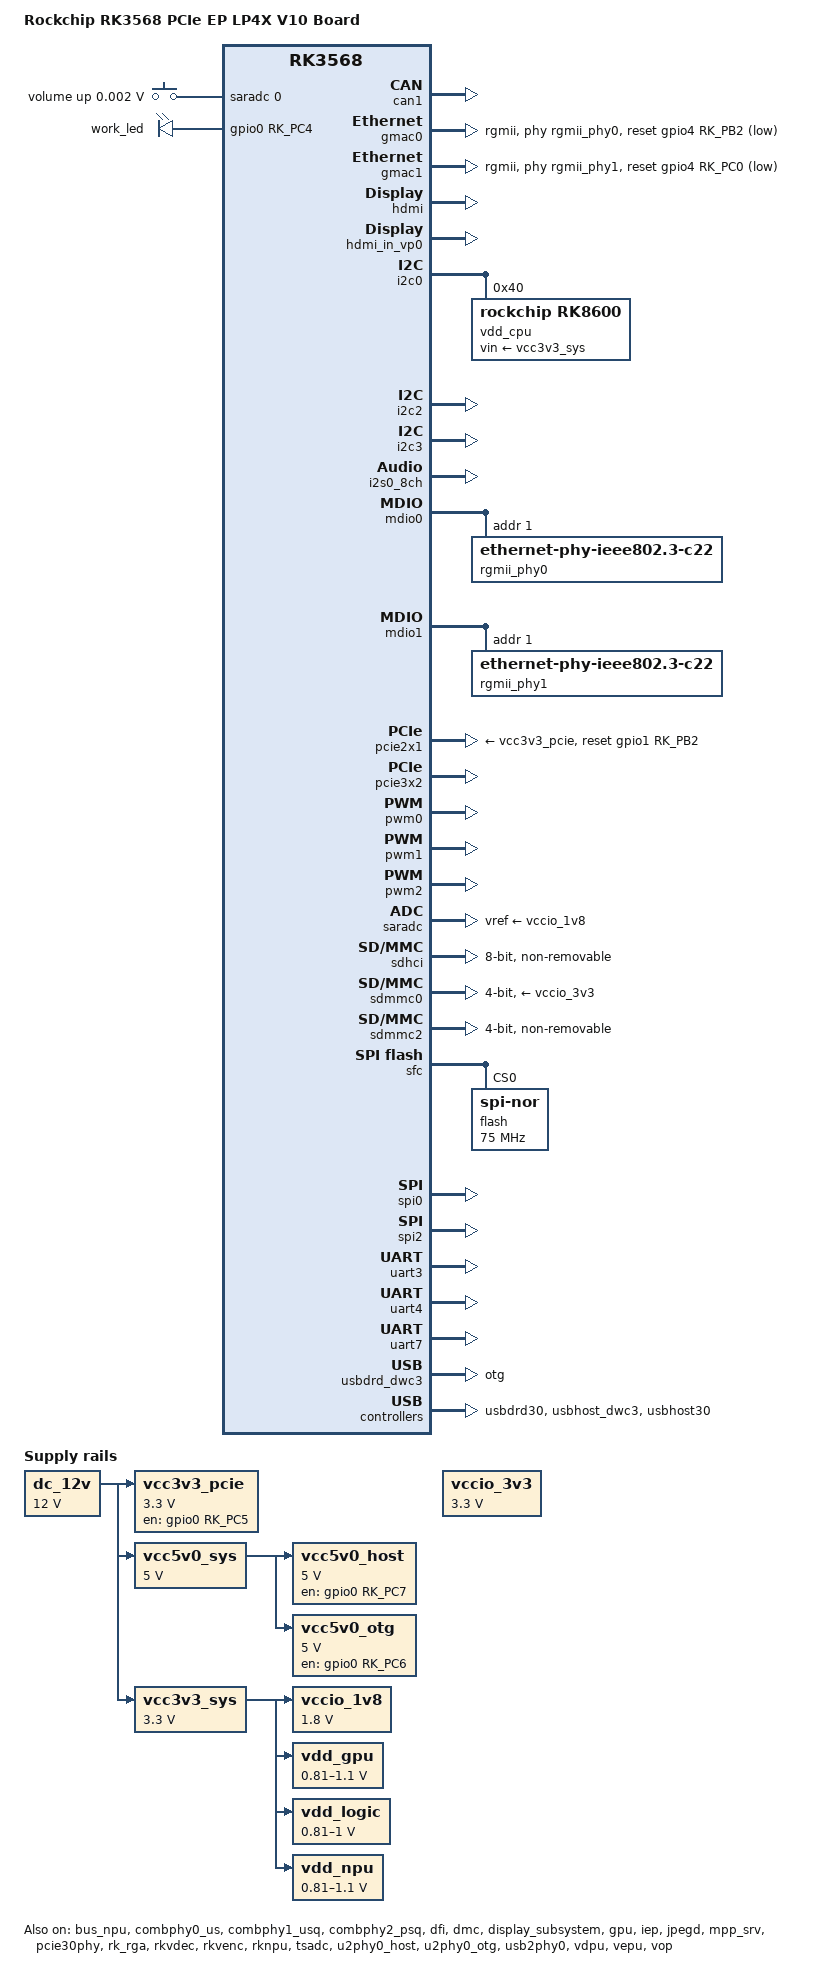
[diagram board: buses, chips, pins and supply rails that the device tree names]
// SPDX-License-Identifier: (GPL-2.0+ OR MIT)
/*
 * Copyright (c) 2023 Rockchip Electronics Co., Ltd.
 *
 */

/dts-v1/;

#include <dt-bindings/gpio/gpio.h>
#include <dt-bindings/input/rk-input.h>
#include "rk3568.dtsi"

/ {
	model = "Rockchip RK3568 PCIe EP LP4X V10 Board";
	compatible = "rockchip,rk3568-pcie-ep-lp4x-v10", "rockchip,rk3568";

	adc_keys: adc-keys {
		compatible = "adc-keys";
		io-channels = <&saradc 0>;
		io-channel-names = "buttons";
		keyup-threshold-microvolt = <1800000>;
		poll-interval = <100>;

		vol-up-key {
			label = "volume up";
			linux,code = <KEY_VOLUMEUP>;
			press-threshold-microvolt = <1750>;
		};
	};

	chosen: chosen {
		bootargs = "earlycon=uart8250,mmio32,0xfe660000 console=ttyFIQ0 root=PARTUUID=614e0000-0000 rw rootwait default_hugepagesz=32M hugepagesz=32M hugepages=1";
	};

	dc_12v: dc-12v {
		compatible = "regulator-fixed";
		regulator-name = "dc_12v";
		regulator-always-on;
		regulator-boot-on;
		regulator-min-microvolt = <12000000>;
		regulator-max-microvolt = <12000000>;
	};

	fiq-debugger {
		compatible = "rockchip,fiq-debugger";
		rockchip,serial-id = <2>;
		rockchip,wake-irq = <0>;
		/* If enable uart uses irq instead of fiq */
		rockchip,irq-mode-enable = <1>;
		rockchip,baudrate = <1500000>;  /* Only 115200 and 1500000 */
		interrupts = <GIC_SPI 252 IRQ_TYPE_LEVEL_LOW>;
		pinctrl-names = "default";
		pinctrl-0 = <&uart2m0_xfer>;
		status = "okay";
	};

	hdmi_sound: hdmi-sound {
		compatible = "simple-audio-card";
		simple-audio-card,format = "i2s";
		simple-audio-card,mclk-fs = <128>;
		simple-audio-card,name = "rockchip,hdmi";
		status = "disabled";

		simple-audio-card,cpu {
			sound-dai = <&i2s0_8ch>;
		};
		simple-audio-card,codec {
			sound-dai = <&hdmi>;
		};
	};

	leds: leds {
		compatible = "gpio-leds";

		work_led: work {
			gpios = <&gpio0 RK_PC4 GPIO_ACTIVE_HIGH>;
			linux,default-trigger = "heartbeat";
		};
	};

	reserved-memory {
		#address-cells = <2>;
		#size-cells = <2>;
		ranges;
		bar0_region: bar0-region@0x3c000000 {
			reg = <0x0 0x3c000000 0x0 0x00400000>;
		};
		bar2_region: bar2-region@0x40000000 {
			reg = <0x0 0x40000000 0x0 0x04000000>;
		};
	};

	test-power {
		status = "okay";
	};

	vcc3v3_pcie: gpio-regulator {
		compatible = "regulator-fixed";
		regulator-name = "vcc3v3_pcie";
		regulator-min-microvolt = <3300000>;
		regulator-max-microvolt = <3300000>;
		enable-active-high;
		gpio = <&gpio0 RK_PC5 GPIO_ACTIVE_HIGH>;
		startup-delay-us = <5000>;
		vin-supply = <&dc_12v>;
	};

	vcc5v0_sys: vcc5v0-sys {
		compatible = "regulator-fixed";
		regulator-name = "vcc5v0_sys";
		regulator-always-on;
		regulator-boot-on;
		regulator-min-microvolt = <5000000>;
		regulator-max-microvolt = <5000000>;
		vin-supply = <&dc_12v>;
	};

	vcc5v0_host: vcc5v0-host-regulator {
		compatible = "regulator-fixed";
		regulator-name = "vcc5v0_host";
		regulator-boot-on;
		regulator-always-on;
		regulator-min-microvolt = <5000000>;
		regulator-max-microvolt = <5000000>;
		enable-active-high;
		gpio = <&gpio0 RK_PC7 GPIO_ACTIVE_HIGH>;
		vin-supply = <&vcc5v0_sys>;
		pinctrl-names = "default";
		pinctrl-0 = <&vcc5v0_host_en>;
	};

	vcc5v0_otg: vcc5v0-otg-regulator {
		compatible = "regulator-fixed";
		regulator-name = "vcc5v0_otg";
		regulator-min-microvolt = <5000000>;
		regulator-max-microvolt = <5000000>;
		enable-active-high;
		gpio = <&gpio0 RK_PC6 GPIO_ACTIVE_HIGH>;
		vin-supply = <&vcc5v0_sys>;
		pinctrl-names = "default";
		pinctrl-0 = <&vcc5v0_otg_en>;
	};

	vcc3v3_sys: vcc3v3-sys {
		compatible = "regulator-fixed";
		regulator-name = "vcc3v3_sys";
		regulator-always-on;
		regulator-boot-on;
		regulator-min-microvolt = <3300000>;
		regulator-max-microvolt = <3300000>;
		vin-supply = <&dc_12v>;
	};

	vccio_1v8: vccio-1v8 {
		compatible = "regulator-fixed";
		regulator-name = "vccio_1v8";
		regulator-always-on;
		regulator-boot-on;
		regulator-min-microvolt = <1800000>;
		regulator-max-microvolt = <1800000>;
		vin-supply = <&vcc3v3_sys>;
	};

	vccio_3v3: vccio-3v3 {
		compatible = "regulator-fixed";
		regulator-name = "vccio_3v3";
		regulator-always-on;
		regulator-boot-on;
		regulator-min-microvolt = <3300000>;
		regulator-max-microvolt = <3300000>;
	};

	vdd_gpu: vdd-gpu {
		compatible = "pwm-regulator";
		pwms = <&pwm0 0 5000 1>;
		regulator-name = "vdd_gpu";
		regulator-min-microvolt = <810000>;
		regulator-max-microvolt = <1100000>;
		regulator-init-microvolt = <920000>;
		regulator-always-on;
		regulator-boot-on;
		regulator-settling-time-up-us = <250>;
		pwm-supply = <&vcc3v3_sys>;
		status = "okay";
	};

	vdd_logic: vdd-logic {
		compatible = "pwm-regulator";
		pwms = <&pwm1 0 5000 1>;
		regulator-name = "vdd_logic";
		regulator-min-microvolt = <810000>;
		regulator-max-microvolt = <1000000>;
		regulator-init-microvolt = <920000>;
		regulator-always-on;
		regulator-boot-on;
		regulator-settling-time-up-us = <250>;
		pwm-supply = <&vcc3v3_sys>;
		status = "okay";
	};

	vdd_npu: vdd-npu {
		compatible = "pwm-regulator";
		pwms = <&pwm2 0 5000 1>;
		regulator-name = "vdd_npu";
		regulator-min-microvolt = <810000>;
		regulator-max-microvolt = <1100000>;
		regulator-init-microvolt = <920000>;
		regulator-always-on;
		regulator-boot-on;
		regulator-settling-time-up-us = <250>;
		pwm-supply = <&vcc3v3_sys>;
		status = "okay";
	};
};

&bus_npu {
	bus-supply = <&vdd_logic>;
	pvtm-supply = <&vdd_cpu>;
	status = "okay";
};

&can1 {
	assigned-clocks = <&cru CLK_CAN0>;
	assigned-clock-rates = <150000000>;
	pinctrl-names = "default";
	pinctrl-0 = <&can1m0_pins>;
	status = "okay";
};

&combphy0_us {
	status = "okay";
};

&combphy1_usq {
	status = "okay";
};

&combphy2_psq {
	 status = "okay";
};

&cpu0 {
	cpu-supply = <&vdd_cpu>;
};

&dfi {
	status = "okay";
};

&dmc {
	center-supply = <&vdd_logic>;
	status = "okay";
};

&display_subsystem {
	status = "okay";
};

&gmac0 {
	phy-mode = "rgmii";
	clock_in_out = "output";

	snps,reset-gpio = <&gpio4 RK_PB2 GPIO_ACTIVE_LOW>;
	snps,reset-active-low;
	/* Reset time is 20ms, 100ms for rtl8211f */
	snps,reset-delays-us = <0 20000 100000>;

	assigned-clocks = <&cru SCLK_GMAC0_RX_TX>, <&cru SCLK_GMAC0>;
	assigned-clock-parents = <&cru SCLK_GMAC0_RGMII_SPEED>, <&cru CLK_MAC0_2TOP>;
	assigned-clock-rates = <0>, <125000000>;

	pinctrl-names = "default";
	pinctrl-0 = <&gmac0_miim
		     &gmac0_tx_bus2
		     &gmac0_rx_bus2
		     &gmac0_rgmii_clk
		     &gmac0_rgmii_bus>;

	tx_delay = <0x3c>;
	rx_delay = <0x2f>;

	phy-handle = <&rgmii_phy0>;
	status = "okay";
};

&gmac1 {
	phy-mode = "rgmii";
	clock_in_out = "output";

	snps,reset-gpio = <&gpio4 RK_PC0 GPIO_ACTIVE_LOW>;
	snps,reset-active-low;
	/* Reset time is 20ms, 100ms for rtl8211f */
	snps,reset-delays-us = <0 20000 100000>;

	assigned-clocks = <&cru SCLK_GMAC1_RX_TX>, <&cru SCLK_GMAC1>;
	assigned-clock-parents = <&cru SCLK_GMAC1_RGMII_SPEED>, <&cru CLK_MAC1_2TOP>;
	assigned-clock-rates = <0>, <125000000>;

	pinctrl-names = "default";
	pinctrl-0 = <&gmac1m1_miim
		     &gmac1m1_tx_bus2
		     &gmac1m1_rx_bus2
		     &gmac1m1_rgmii_clk
		     &gmac1m1_rgmii_bus>;

	tx_delay = <0x4f>;
	rx_delay = <0x26>;

	phy-handle = <&rgmii_phy1>;
	status = "okay";
};

&gpu {
	mali-supply = <&vdd_gpu>;
	status = "okay";
};

&hdmi {
	status = "okay";
	rockchip,phy-table =
		<92812500  0x8009 0x0000 0x0270>,
		<165000000 0x800b 0x0000 0x026d>,
		<185625000 0x800b 0x0000 0x01ed>,
		<297000000 0x800b 0x0000 0x01ad>,
		<594000000 0x8029 0x0000 0x0088>,
		<000000000 0x0000 0x0000 0x0000>;
};

&hdmi_in_vp0 {
	status = "okay";
};

&hdmi_sound {
	status = "okay";
};

&i2c0 {
	status = "okay";
	vdd_cpu: rk8600@40 {
		compatible = "rockchip,rk8600";
		reg = <0x40>;
		vin-supply = <&vcc3v3_sys>;
		regulator-compatible = "rk860x-reg";
		regulator-name = "vdd_cpu";
		regulator-min-microvolt = <712500>;
		regulator-max-microvolt = <1500000>;
		regulator-ramp-delay = <2300>;
		rockchip,suspend-voltage-selector = <1>;
		regulator-boot-on;
		regulator-always-on;
		regulator-state-mem {
			regulator-off-in-suspend;
		};
	};
};

&i2c2 {
	status = "okay";
	pinctrl-names = "default";
	pinctrl-0 = <&i2c2m1_xfer>;
};

&i2c3 {
	status = "okay";
	pinctrl-names = "default";
	pinctrl-0 = <&i2c3m1_xfer>;
};

&i2s0_8ch {
	status = "okay";
};

&iep {
	status = "okay";
};

&iep_mmu {
	status = "okay";
};

&jpegd {
	status = "okay";
};

&jpegd_mmu {
	status = "okay";
};

&mdio0 {
	rgmii_phy0: phy@1 {
		compatible = "ethernet-phy-ieee802.3-c22";
		reg = <0x1>;
	};
};

&mdio1 {
	rgmii_phy1: phy@1 {
		compatible = "ethernet-phy-ieee802.3-c22";
		reg = <0x1>;
	};
};

&mpp_srv {
	status = "okay";
};

&pcie2x1 {
	reset-gpios = <&gpio1 RK_PB2 GPIO_ACTIVE_HIGH>;
	vpcie3v3-supply = <&vcc3v3_pcie>;
	status = "okay";
};

&pcie30phy {
	status = "okay";
};

&pcie3x2 {
	compatible = "rockchip,rk3568-pcie-std-ep";
	memory-region = <&bar0_region>, <&bar2_region>;
	memory-region-names = "bar0", "bar2";
	status = "okay";
};

&pinctrl {
	usb {
		vcc5v0_host_en: vcc5v0-host-en {
			rockchip,pins = <0 RK_PC7 RK_FUNC_GPIO &pcfg_pull_none>;
		};

		vcc5v0_otg_en: vcc5v0-otg-en {
			rockchip,pins = <0 RK_PC6 RK_FUNC_GPIO &pcfg_pull_none>;
		};
	};
};

&pmu_io_domains {
	status = "okay";
	pmuio2-supply = <&vccio_3v3>;
	vccio1-supply = <&vccio_3v3>;
	vccio3-supply = <&vccio_3v3>;
	vccio4-supply = <&vccio_3v3>;
	vccio5-supply = <&vccio_3v3>;
	vccio6-supply = <&vccio_3v3>;
	vccio7-supply = <&vccio_3v3>;
};

&pwm0 {
	status = "okay";
};

&pwm1 {
	status = "okay";
};

&pwm2 {
	status = "okay";
};

&rk_rga {
	status = "okay";
};

&rkvdec {
	status = "okay";
};

&rkvdec_mmu {
	status = "okay";
};

&rkvenc {
	venc-supply = <&vdd_logic>;
	status = "okay";
};

&rkvenc_mmu {
	status = "okay";
};

&rknpu {
	rknpu-supply = <&vdd_npu>;
	status = "okay";
};

&rknpu_mmu {
	status = "okay";
};

&saradc {
	status = "okay";
	vref-supply = <&vccio_1v8>;
};

&sdhci {
	bus-width = <8>;
	no-sdio;
	no-sd;
	non-removable;
	max-frequency = <200000000>;
	status = "okay";
};

&sdmmc0 {
	max-frequency = <150000000>;
	no-sdio;
	no-mmc;
	bus-width = <4>;
	cap-mmc-highspeed;
	cap-sd-highspeed;
	disable-wp;
	sd-uhs-sdr104;
	vmmc-supply = <&vccio_3v3>;
	vqmmc-supply = <&vccio_3v3>;
	pinctrl-names = "default";
	pinctrl-0 = <&sdmmc0_bus4 &sdmmc0_clk &sdmmc0_cmd &sdmmc0_det>;
	status = "okay";
};

&sdmmc2 {
	max-frequency = <150000000>;
	no-sd;
	no-mmc;
	bus-width = <4>;
	disable-wp;
	cap-sd-highspeed;
	cap-sdio-irq;
	keep-power-in-suspend;
	//mmc-pwrseq = <&sdio_pwrseq>;
	non-removable;
	pinctrl-names = "default";
	pinctrl-0 = <&sdmmc2m0_bus4 &sdmmc2m0_cmd &sdmmc2m0_clk>;
	sd-uhs-sdr104;
	status = "okay";
};

&sfc {
	status = "okay";

	flash@0 {
		compatible = "jedec,spi-nor";
		reg = <0>;
		spi-max-frequency = <75000000>;
		spi-rx-bus-width = <4>;
		spi-tx-bus-width = <1>;
	};
};

&spi0 {
	status = "okay";
	pinctrl-names = "default", "high_speed";
	pinctrl-0 = <&spi0m1_cs0 &spi0m1_pins>;
	pinctrl-1 = <&spi0m1_cs0 &spi0m1_pins_hs>;
};

&spi2 {
	status = "okay";
	pinctrl-names = "default", "high_speed";
	pinctrl-0 = <&spi2m1_cs0 &spi2m1_cs1 &spi2m1_pins>;
	pinctrl-1 = <&spi2m1_cs0 &spi2m1_cs1 &spi2m1_pins_hs>;
};

&tsadc {
	status = "okay";
};

&uart3 {
	status = "okay";
	pinctrl-names = "default";
	pinctrl-0 = <&uart3m1_xfer>;
};

/* RS485 */
&uart4 {
	status = "okay";
	pinctrl-names = "default";
	pinctrl-0 = <&uart4m0_xfer &uart4m0_ctsn &uart4m0_rtsn>;
};

&uart7 {
	status = "okay";
	pinctrl-names = "default";
	pinctrl-0 = <&uart7m1_xfer>;
};

&u2phy0_host {
	phy-supply = <&vcc5v0_host>;
	status = "okay";
};

&u2phy0_otg {
	status = "okay";
	vbus-supply = <&vcc5v0_otg>;
};

&usb2phy0 {
	status = "okay";
};

&usbdrd_dwc3 {
	dr_mode = "otg";
	extcon = <&usb2phy0>;
	status = "okay";
};

&usbdrd30 {
	status = "okay";
};

&usbhost_dwc3 {
	status = "okay";
};

&usbhost30 {
	status = "okay";
};

&vdpu {
	status = "okay";
};

&vdpu_mmu {
	status = "okay";
};

&vepu {
	status = "okay";
};

&vepu_mmu {
	status = "okay";
};

&vop {
	status = "okay";
	assigned-clocks = <&cru DCLK_VOP0>, <&cru DCLK_VOP1>;
	assigned-clock-parents = <&pmucru PLL_HPLL>, <&cru PLL_VPLL>;
};

&vop_mmu {
	status = "okay";
};
